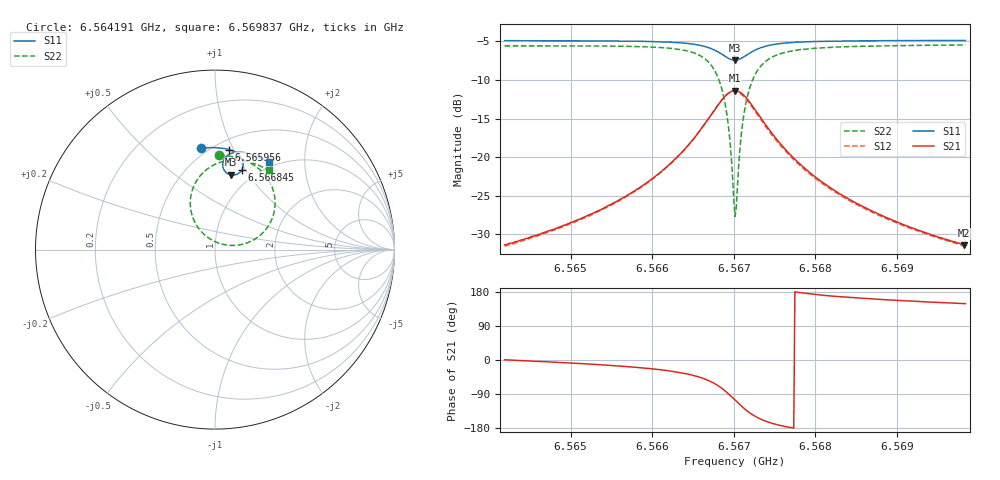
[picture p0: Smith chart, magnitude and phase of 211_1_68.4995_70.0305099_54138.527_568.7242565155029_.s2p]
#  HZ  S  RI  R  50.00
! Rohde & Schwarz Vector Network Analyzer
! Rohde-Schwarz,ZNB20-2Port,1311601062101988,3.16
! Created: UTC 3/20/2024, 4:58:01 PM
! freq[Hz]  re:S11  im:S11  re:S21  im:S21  re:S12  im:S12  re:S22  im:S22
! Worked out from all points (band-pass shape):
!   401 points, 6.564191 GHz to 6.569837 GHz, reference 50 ohm
!   highest |S21| = -11.37 dB at 6.567014 GHz (marker M1); lowest = -31.4 dB at 6.569823 GHz (marker M2)
!   |S21| within 3 dB of the highest: 6.566731 GHz to 6.567296 GHz (564.6 kHz wide, 0.0086 % of centre)
!   lowest |S11| = -7.4 dB at 6.567014 GHz (marker M3), VSWR 2.48, Z = 40.7 + j41.4 ohm
!   |S11| at or under -10 dB: nowhere
!   |S22| runs from -27.7 to -5.5 dB; largest |S21 - S12| = 0.013
!   S11 on the Smith chart (normalised r, x): 6.564191 GHz: 0.46, +0.77; 6.565956 GHz: 0.59, +0.96; 6.566845 GHz: 0.85, +0.96; 6.569837 GHz: 0.92, +1.34
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6.5641912e9  -0.0754 0.5641  0.0271 0.000221  0.0265 -0.000278  0.0243 0.5258
6.5651369e9  0.00151 0.568  0.0398 -0.00673  0.039 -0.00742  0.1125 0.5142
6.5659556e9  0.0763 0.5574  0.0646 -0.0264  0.0635 -0.0273  0.2138 0.4725
6.5660826e9  0.0894 0.5533  0.0711 -0.0336  0.0699 -0.0344  0.2343 0.4582
6.5663932e9  0.1243 0.5346  0.0915 -0.0648  0.09 -0.066  0.2929 0.3967
6.5666049e9  0.1486 0.5071  0.1047 -0.1126  0.1025 -0.1148  0.3308 0.3042
6.5667461e9  0.1572 0.4743  0.098 -0.1702  0.0937 -0.1731  0.3255 0.1942
6.5668449e9  0.1489 0.4438  0.0663 -0.2223  0.059 -0.2251  0.2694 0.0966
6.5668872e9  0.139 0.4311  0.0407 -0.2433  0.0319 -0.245  0.223 0.0586
6.5669296e9  0.1247 0.4209  0.00746 -0.2588  -0.00283 -0.2587  0.1624 0.0319
6.5670001e9  0.0939 0.4155  -0.0592 -0.2631  -0.0703 -0.2585  0.043 0.0295
6.5670142e9  0.0875 0.4166  -0.0728 -0.2601  -0.0838 -0.2544  0.0195 0.0366
6.5670425e9  0.0754 0.4207  -0.0988 -0.2499  -0.1086 -0.2424  -0.0246 0.0575
6.5670848e9  0.0598 0.4317  -0.1317 -0.2265  -0.1394 -0.2168  -0.0789 0.1029
6.5671272e9  0.0492 0.4463  -0.1552 -0.1969  -0.1603 -0.1862  -0.115 0.1578
6.5671836e9  0.0431 0.4671  -0.1714 -0.1554  -0.1735 -0.1451  -0.1362 0.2319
6.5672542e9  0.0456 0.4904  -0.1738 -0.1099  -0.1731 -0.101  -0.132 0.3116
6.5675083e9  0.0839 0.5332  -0.1319 -0.0244  -0.1289 -0.0206  -0.0358 0.4541
6.56796e9  0.1445 0.5426  -0.0769 0.00823  -0.0751 0.00938  0.0917 0.4984
6.5689057e9  0.2307 0.5206  -0.0371 0.0147  -0.0363 0.0148  0.2214 0.4788
6.5698232e9  0.2976 0.4872  -0.023 0.014  -0.0226 0.0141  0.2995 0.4416
6.5698373e9  0.2986 0.4868  -0.0231 0.014  -0.0225 0.014  0.3005 0.4411
